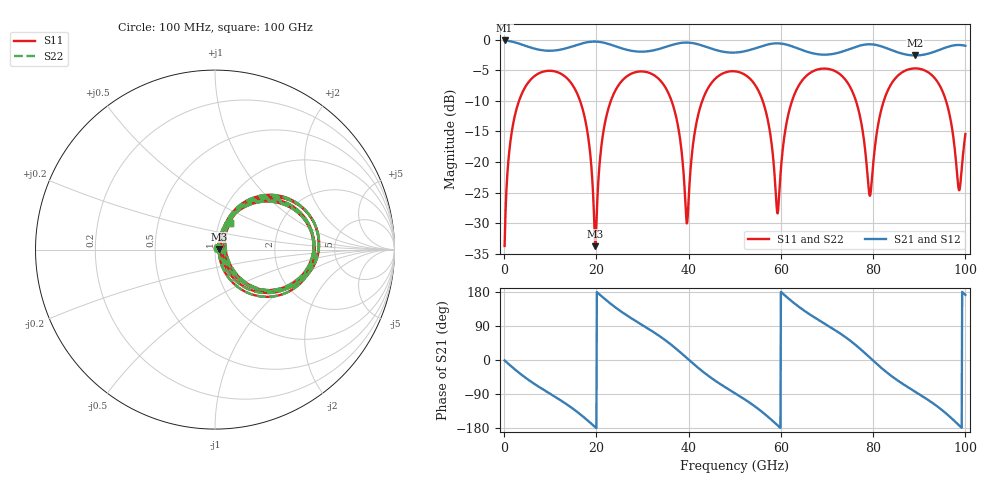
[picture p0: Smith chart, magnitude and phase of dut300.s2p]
! Touchstone file exported from HFSS 2026.1.0
!  File:  C:/ffzhzh/LocalFiles/Ansys_Project_Files/temp_train_TSV_RDL_300_1783686552_23244.aedt
!  Generated:  08:44:26 PM Jul 10, 2026
!  Design:  TSV_RDL
!  Project:  temp_train_TSV_RDL_300_1783686552_23244
! Variables:
!  h_bsmrdl = 3.58um
!  h_ox = 20um
!  h_rdl = 5um
!  h_sub = 57.65um
!  h_tmrdl = 2.34um
!  h_tsv = 57.65um
!  h_via = 3um
!  l_bsmrdl = 177.64um
!  l_sub = 3157.72um
!  l_tmrdl = 525.66um
!  m_sub = 200um
!  pitch = 55.4um
!  r_tsv = 10.41um
!  s_tmrdl = 10um
!  w_bsmrdl = 14.15um
!  w_sub = 500um
!  w_tmrdl = 26.57um
!  x_tsv_center1 = 538.945um
!  x_tsv_center2 = 730.735um
!  x_tsv_center3 = 1282.965um
!  x_tsv_center4 = 1474.755um
!  x_tsv_center5 = 2026.985um
!  x_tsv_center6 = 2218.775um
# GHz S MA R 50.000000
! Terminal data exported
! Port[1] = TM_RDL1_1_T1
! Port[2] = TM_RDL5_1_T1
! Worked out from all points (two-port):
!   1000 points, 100 MHz to 100 GHz, reference 50 ohm
!   highest |S21| = -0.15 dB at 100 MHz (marker M1); lowest = -2.6 dB at 89.1 GHz (marker M2)
!   |S21| within 3 dB of the highest: start of sweep to end of sweep
!   lowest |S11| = -33.7 dB at 19.8 GHz (marker M3), VSWR 1.04, Z = 52.1 + j0.311 ohm
!   |S11| at or under -10 dB: 16.46 GHz to 23.13 GHz (6.673 GHz wide, 33.7 % of centre); 36.29 GHz to 42.96 GHz (6.662 GHz wide, 16.8 % of centre); 56.05 GHz to 62.42 GHz (6.373 GHz wide, 10.8 % of centre) (the widest 3 of 6)
!   |S22| runs from -33.7 to -4.7 dB; largest |S21 - S12| = 1.9e-14
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0.1  0.02073 33.9  0.9829 -1.1  0.9829 -1.1  0.02073 33.9
! Gamma 0 0 0 0
! Port Impedance 50 0 50 0
1.7  0.1813 64.7  0.9616 -18.4  0.9616 -18.4  0.1813 64.7
4.8  0.4231 38.8  0.8841 -48.3  0.8841 -48.3  0.4231 38.8
16.8  0.289 -54.2  0.9275 -146.3  0.9275 -146.3  0.289 -54.3
19.8  0.02064 8.3  0.9624 -177.7  0.9624 -177.7  0.0206 8.1
23.7  0.3572 48.9  0.8927 142.6  0.8927 142.6  0.3572 48.9
33.4  0.482 -23.6  0.8342 65.5  0.8342 65.5  0.482 -23.8
37.3  0.2328 -54.4  0.9226 29.6  0.9226 29.6  0.2326 -55.0
39.6  0.03164 -0.3  0.945 5.2  0.945 5.2  0.02888 -0.9
42.9  0.3119 55.2  0.8942 -29.0  0.8942 -29.0  0.3116 55.7
50.1  0.5503 1.4  0.7831 -88.1  0.7831 -88.1  0.5502 1.6
56.1  0.3122 -43.8  0.8888 -138.7  0.8888 -138.7  0.3122 -43.7
59.3  0.03819 11.9  0.9314 -172.5  0.9314 -172.5  0.03825 11.9
62  0.2804 61.0  0.8916 158.6  0.8916 158.6  0.2803 61.1
66.7  0.5447 25.0  0.7757 116.8  0.7757 116.8  0.5447 25.0
75.2  0.3975 -35.6  0.8448 49.4  0.8448 49.4  0.3975 -35.7
79.3  0.05311 6.7  0.9151 6.2  0.9151 6.2  0.05142 6.6
83.4  0.3998 46.7  0.8367 -37.0  0.8367 -37.0  0.3995 47.1
89.1  0.5816 5.7  0.7418 -83.6  0.7418 -83.6  0.5815 6.0
95.3  0.3582 -39.3  0.8489 -135.7  0.8489 -135.7  0.3583 -38.9
98.6  0.05916 0.3  0.9031 -172.1  0.9031 -172.1  0.06029 0.5
100  0.1696 61.1  0.8894 171.8  0.8894 171.8  0.1698 61.0
